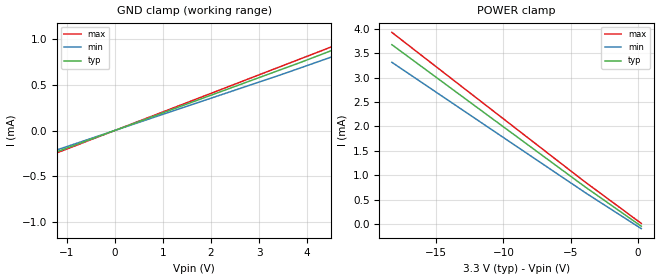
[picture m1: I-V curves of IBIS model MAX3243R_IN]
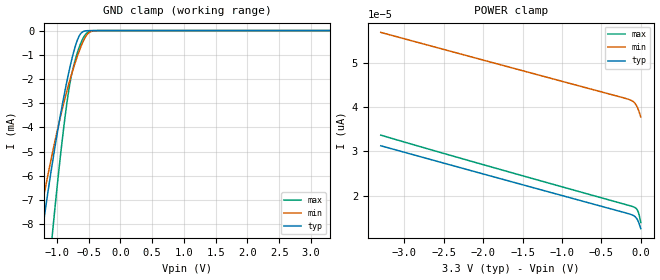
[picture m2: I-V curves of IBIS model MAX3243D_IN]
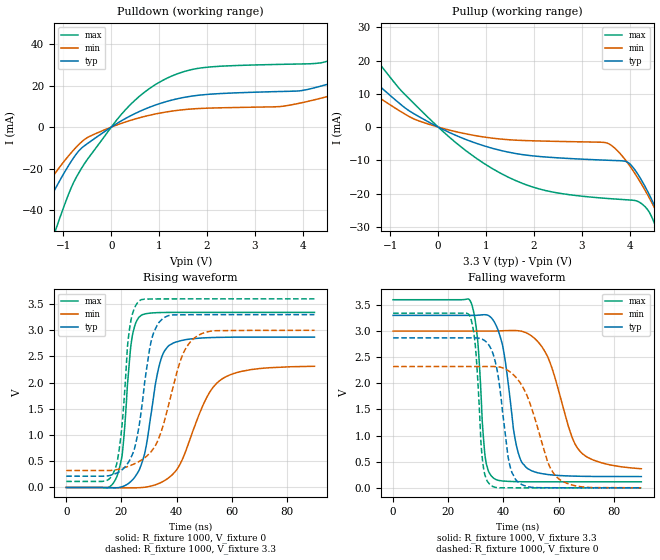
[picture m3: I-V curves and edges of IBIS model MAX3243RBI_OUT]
| TEXAS INSTRUMENTS INCORPORATED
| Standard Linear and Logic Group
| IBIS Model of MAX3243
| 3-V TO 5.5-V MULTICHANNEL RS-232 LINE DRIVER/RECEIVER WITH +-15 kV ESD
| (HBM) PROTECTION
| This file contains package information for the following:
|  SSOP 28-pin (DB) package as [Component] MAX3243C_DB
|  SOIC 28-pin (DW) package as [Component] MAX3243C_DW
|  TSSOP 28-pin (PW) package as [Component] MAX3243C_PW
| This device can be powered at the following Vccs:
|  3.3 volt Vcc
| This file provides unique models under the [Model Selector] for each Vcc.
| For operation at a specific Vcc, select the appropriate model after each
| [Model Selector] keyword.
[IBIS Ver]   3.2
[Comment char]  |_char
[File Name]   max3243.ibs
[File Rev]   1.1 | c_die
[Date]   June 18, 2001
[Source]   Data created from TI-SPICE simulations at TI-SLL.
[Notes]   The following is an IBIS list for the MAX3243C.
   Please contact sllibis@ti.com with questions and
   comments concerning SLL IBIS models.
   -We violated the sweep range for receiver input and
   driver output assuming that there will be no reflection
   issue in practice.
   - This model has data only for 3.3 V VCC
   - Since the receiver of RS-232 has no Vinl and Vinh, we
   omitted those parameters
   - FILE REV HISTORY
   - 1.0   RELEASE IBIS FILE ON 06/18/2001
   - 1.1   ADDED PW PACKAGE ON 01/19/2004
[Disclaimer] Property of Texas Instruments Incorporated.  Unauthorized
                reproduction and/or distribution is strictly prohibited.
                This product is protected under copyright law.
                Created  2001, (C) Copyright  2001, Texas Instruments
                Incorporated, All Rights Reserved
                UNLESS THERE IS A SIGNED, WRITTEN AGREEMENT TO THE
                CONTRARY, TEXAS INSTRUMENTS (TI) IS PROVIDING THE IBIS
                MODELS  AND WITHOUT ANY WARRANTY, EXPRESSED OR
                IMPLIED.  TI assumes no liability for:
                 1) the accuracy of the IBIS models provided to your
                    company;
                 2) the proper functioning of these IBIS Models in your
                    design or for any resulting applications; or
                 3) infringement of patents, copyrights or intellectual
                    property rights resulting from your use of these IBIS
                    models.
                TI provides IBIS Models as a service to our customers.
                You and your company shall not distribute, sell or give
                these models to anyone else without prior written
                permission from TI.
                TI reserves the right to make changes to our products or
                to discontinue any semiconductor product or service
                without notice, and advises our customers to obtain the
                latest version of relevant information to verify, before
                placing orders, that the information being relied on is
                current.
                Please be aware that your receipt and use of the IBIS
                information provided shall serve as acceptance of these
                terms and conditions.  If you do not accept these terms,
                you should return or destroy the IBIS models and any
                other accompanying information immediately.
| Component MAX3243C_DB 28-pin SSOP
[Component]   MAX3243C_DB
[Manufacturer]   Texas Instruments, Inc.
[Package]
|   typ   min   max
R_pkg   3.400e-02   2.800e-02   3.900e-02
L_pkg   3.404e-09   2.704e-09   4.545e-09
C_pkg   4.280e-13   2.990e-13   5.710e-13
[Pin]   signal_name   model_name   R_pin   L_pin   C_pin
1   C2+   NC   3.800e-02   4.545e-09   5.640e-13
2   C2-   NC   3.900e-02   4.133e-09   5.710e-13
3   VMINUS   NC   3.500e-02   3.598e-09   4.890e-13
4   RIN1   MAX3243R_IN   2.800e-02   3.087e-09   4.080e-13
5   RIN2   MAX3243R_IN   3.200e-02   2.990e-09   3.490e-13
6   RIN3   MAX3243R_IN   3.200e-02   2.774e-09   3.180e-13
7   RIN4   MAX3243R_IN   3.100e-02   2.704e-09   2.990e-13
8   RIN5   MAX3243R_IN   3.100e-02   2.704e-09   2.990e-13
9   DOUT1   MAX3243D_OUT   3.200e-02   2.774e-09   3.180e-13
10   DOUT2   MAX3243D_OUT   3.200e-02   2.990e-09   3.490e-13
11   DOUT3   MAX3243D_OUT   2.800e-02   3.087e-09   4.080e-13
12   DIN3   MAX3243D_IN   3.500e-02   3.598e-09   4.890e-13
13   DIN2   MAX3243D_IN   3.900e-02   4.133e-09   5.710e-13
14   DIN1   MAX3243D_IN   3.800e-02   4.545e-09   5.640e-13
15   ROUT5   MAX3243R_OUT   3.800e-02   4.545e-09   5.640e-13
16   ROUT4   MAX3243R_OUT   3.900e-02   4.133e-09   5.710e-13
17   ROUT3   MAX3243R_OUT   3.500e-02   3.597e-09   4.890e-13
18   ROUT2   MAX3243R_OUT   2.800e-02   3.087e-09   4.080e-13
19   ROUT1   MAX3243R_OUT   3.200e-02   2.990e-09   3.490e-13
20   ROUT2B   MAX3243RBI_OUT   3.100e-02   2.774e-09   3.180e-13
21   INVALID   MAX3243RBI_OUT   3.100e-02   2.704e-09   2.990e-13
22   FORCEOFFB  MAX3243F_IN   3.100e-02   2.704e-09   2.990e-13
23   FORCEON   MAX3243F_IN   3.200e-02   2.774e-09   3.180e-13
24   C1-   NC   3.200e-02   2.990e-09   3.490e-13
25   GND   GND   2.800e-02   3.087e-09   4.080e-13
26   VCC   POWER   3.500e-02   3.598e-09   4.890e-13
27   VPLUS   NC   3.900e-02   4.133e-09   5.710e-13
28   C1+   NC   3.800e-02   4.545e-09   5.640e-13
| Component MAX3243C_DW 28-pin SOIC
[Component]   MAX3243C_DW
[Manufacturer]   Texas Instruments, Inc.
[Package]
|   typ   min   max
R_pkg   3.700e-02   3.100e-02   4.600e-02
L_pkg   5.147e-09   3.554e-09   7.390e-09
C_pkg   8.040e-13   3.820e-13   1.314e-12
[Pin]   signal_name   model_name   R_pin   L_pin   C_pin
1   C2+   NC   4.500e-02   7.390e-09   1.122e-12
2   C2-   NC   4.300e-02   6.387e-09   1.048e-12
3   VMINUS   NC   3.800e-02   5.461e-09   8.240e-13
4   RIN1   MAX3243R_IN   3.700e-02   4.759e-09   5.730e-13
5   RIN2   MAX3243R_IN   3.100e-02   4.604e-09   5.090e-13
6   RIN3   MAX3243R_IN   3.200e-02   3.891e-09   4.580e-13
7   RIN4   MAX3243R_IN   3.400e-02   3.554e-09   3.820e-13
8   RIN5   MAX3243R_IN   3.400e-02   3.555e-09   3.820e-13
9   DOUT1   MAX3243D_OUT   3.200e-02   3.891e-09   4.580e-13
10   DOUT2   MAX3243D_OUT   3.100e-02   4.604e-09   5.090e-13
11   DOUT3   MAX3243D_OUT   3.300e-02   4.744e-09   5.730e-13
12   DIN3   MAX3243D_IN   3.600e-02   5.454e-09   8.240e-13
13   DIN2   MAX3243D_IN   4.200e-02   6.382e-09   1.049e-12
14   DIN1   MAX3243D_IN   4.600e-02   7.383e-09   1.074e-12
15   ROUT5   MAX3243R_OUT   4.600e-02   7.383e-09   1.266e-12
16   ROUT4   MAX3243R_OUT   4.200e-02   6.382e-09   1.262e-12
17   ROUT3   MAX3243R_OUT   3.600e-02   5.454e-09   1.037e-12
18   ROUT2   MAX3243R_OUT   3.300e-02   4.744e-09   7.870e-13
19   ROUT1   MAX3243R_OUT   3.100e-02   4.604e-09   7.230e-13
20   ROUT2B   MAX3243RBI_OUT   3.200e-02   3.891e-09   6.710e-13
21   INVALID   MAX3243RBI_OUT   3.400e-02   3.554e-09   5.960e-13
22   FORCEOFFB  MAX3243F_IN   3.400e-02   3.554e-09   5.960e-13
23   FORCEON   MAX3243F_IN   3.200e-02   3.891e-09   6.710e-13
24   C1-   NC   3.100e-02   4.604e-09   7.230e-13
25   GND   GND   3.700e-02   4.759e-09   7.870e-13
26   VCC   POWER   3.800e-02   5.461e-09   1.037e-12
27   VPLUS   NC   4.300e-02   6.387e-09   1.261e-12
28   C1+   NC   4.500e-02   7.390e-09   1.314e-12
| Component MAX3243C_PW 28-pin TSSOP
[Component]   MAX3243C_PW
[Manufacturer]   Texas Instruments, Inc.
[Package]
|   typ   min   max
R_pkg   2.300e-02   1.900e-02   3.000e-02
L_pkg   1.781e-09   1.295e-09   2.916e-09
C_pkg   1.390e-13   7.700e-14   3.160e-13
[Pin]   signal_name   model_name   R_pin   L_pin   C_pin
1   C2+   NC   3.000e-02   2.916e-09   3.160e-13
2   C2-   NC   2.900e-02   2.409e-09   1.910e-13
3   VMINUS   NC   2.500e-02   1.805e-09   1.400e-13
4   RIN1   MAX3243R_IN   2.000e-02   1.336e-09   9.200e-14
5   RIN2   MAX3243R_IN   2.000e-02   1.329e-09   8.000e-14
6   RIN3   MAX3243R_IN   2.100e-02   1.360e-09   7.900e-14
7   RIN4   MAX3243R_IN   2.100e-02   1.359e-09   7.900e-14
8   RIN5   MAX3243R_IN   2.100e-02   1.343e-09   7.800e-14
9   DOUT1   MAX3243D_OUT   2.000e-02   1.327e-09   7.800e-14
10   DOUT2   MAX3243D_OUT   2.100e-02   1.345e-09   8.000e-14
11   DOUT3   MAX3243D_OUT   2.000e-02   1.335e-09   9.200e-14
12   DIN3   MAX3243D_IN   2.500e-02   1.799e-09   1.420e-13
13   DIN2   MAX3243D_IN   2.600e-02   2.338e-09   1.890e-13
14   DIN1   MAX3243D_IN   2.800e-02   2.878e-09   3.140e-13
15   ROUT5   MAX3243R_OUT   3.000e-02   2.910e-09   3.140e-13
16   ROUT4   MAX3243R_OUT   2.900e-02   2.431e-09   1.910e-13
17   ROUT3   MAX3243R_OUT   2.700e-02   1.903e-09   1.450e-13
18   ROUT2   MAX3243R_OUT   1.900e-02   1.319e-09   9.100e-14
19   ROUT1   MAX3243R_OUT   1.900e-02   1.313e-09   7.900e-14
20   ROUT2B   MAX3243RBI_OUT   2.000e-02   1.327e-09   7.800e-14
21   INVALID   MAX3243RBI_OUT   2.000e-02   1.327e-09   7.800e-14
22   FORCEOFFB  MAX3243F_IN   1.900e-02   1.295e-09   7.700e-14
23   FORCEON   MAX3243F_IN   2.000e-02   1.327e-09   7.800e-14
24   C1-   NC   2.000e-02   1.328e-09   8.000e-14
25   GND   GND   2.000e-02   1.335e-09   9.200e-14
26   VCC   POWER   2.700e-02   1.894e-09   1.450e-13
27   VPLUS   NC   2.700e-02   2.397e-09   1.900e-13
28   C1+   NC   2.900e-02   2.892e-09   3.140e-13
| Models and submodels in the file (6): MAX3243R_IN (Input), MAX3243D_IN (Input), MAX3243F_IN (Input), MAX3243RBI_OUT (Output), MAX3243R_OUT (3-state), MAX3243D_OUT (3-state)
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| Model MAX3243R_IN
[Model]   MAX3243R_IN
Model_type  Input
Vinl = 0.8
Vinh = 2.0
| variable   typ   min   max
C_comp   0.00pF   0.00pF   0.00pF
[Model Spec]
| variable   typ   min   max
Vinl+   1.1   NA   NA
Vinl-   0.6   NA   NA
Vinh+   2.4   NA   NA
Vinh-   1.6   NA   NA
[Temperature Range]   40   100   -40
| Ambient temperature   25   85   -40
[Voltage range]   3.3   3   3.6
[GND Clamp]
| MAX3243R_IN_33
|   Voltage   I(typ)   I(min)   I(max)
-15V      -3.025mA   -2.768mA   -3.187mA
-6.4V     -1.281mA   -1.172mA   -1.35mA
-6V       -1.2mA     -1.098mA   -1.264mA
-5.6V     -1.119mA   -1.024mA   -1.179mA
-5.2V     -1.038mA   -949.4uA   -1.093mA
-1.4V     -271.4uA   -248.5uA   -285.7uA
3.4V      657.7uA    602.3uA    692.3uA
5.25V     1.028mA    944.6uA    1.077mA
5.65V     1.109mA    1.019mA    1.163mA
6.45V     1.271mA    1.167mA    1.333mA
25V       5.038mA    4.617mA    5.297mA
[POWER Clamp]
| MAX3243R_IN_33
|   Voltage   I(typ)   I(min)   I(max)
-18.3V    3.676mA    3.315mA    3.929mA
-4.15V    804.9uA    684.9uA    906.9uA
-3.65V    706uA      593.3uA    804.3uA
250mV     -48.36uA   -97.41uA   10.18uA
[Model]   MAX3243D_IN
Model_type  Input
Vinl = 0.8
Vinh = 2.0
| variable   typ   min   max
C_comp   1.19pF   0.88pF   1.37pF
[Temperature Range]   40   100   -40
| Ambient temperature   25   85   -40
[Voltage range]   3.3   3   3.6
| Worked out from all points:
|   GND clamp passes 1 mA (typ) near -0.75 V on its own axis
[GND Clamp]
| MAX3243D_IN_33
|   Voltage   I(typ)   I(min)   I(max)
-3.3V     -67.98mA   -51.63mA   -103.5mA
-1.325V   -10.18mA   -8.567mA   -16.11mA
-1.29V    -9.491mA   -8.054mA   -14.98mA
-1.225V   -8.243mA   -7.13mA    -12.94mA
-1.065V   -5.412mA   -5.018mA   -8.304mA
-915mV    -3.102mA   -3.267mA   -4.558mA
-810mV    -1.722mA   -2.201mA   -2.458mA
-685mV    -463.1uA   -1.135mA   -993.7uA
-580mV    -36.07uA   -422.8uA   -290uA
-510mV    -3.311uA   -125.7uA   -63.81uA
-410mV    -77.71nA   -8.443uA   -1.584uA
3.3V      12.57pA    42.44pA    9.911pA
[POWER Clamp]
| MAX3243D_IN_33
|   Voltage   I(typ)   I(min)   I(max)
-3.3V     31.25pA    56.79pA    33.65pA
-2.045V   25.12pA    50.77pA    27.22pA
-170mV    16.02pA    41.8pA     17.9pA
-125mV    15.77pA    41.5pA     17.67pA
-95mV     15.55pA    41.18pA    17.5pA
-70mV     15.24pA    40.74pA    17.29pA
-50mV     14.82pA    40.17pA    16.96pA
-35mV     14.33pA    39.59pA    16.47pA
-25mV     13.91pA    39.11pA    15.96pA
-15mV     13.41pA    38.58pA    15.26pA
-48.03fV  12.57pA    37.72pA    13.95pA
[Model]   MAX3243RBI_OUT
Model_type  Output
Vref =   0.0
Rref =   3000
Cref =   150p
Vmeas =   1.5
| variable   typ   min   max
C_comp   3.21pF   2.18pF   5.20pF
| C_pullup   2.98pF   2.18pF   4.20pF
| C_pulldown   3.45pF   2.30pF   5.20pF
[Temperature Range]   40   100   -40
| Ambient temperature   25   85   -40
[Voltage range]   3.3   3   3.6
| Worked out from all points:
|   slope of the pulldown table from 0 to 0.495 V, typ, clamps not added: 75.8 ohm
|   slope of the pullup table from 0 to 0.495 V, typ, clamps not added: 152 ohm
|   rising waveform, R_fixture 1000, V_fixture 0: 20-80 % time 5.53ns typ, 11ns min, 3ns max; typ from 0 V to 2.87 V
|   falling waveform, R_fixture 1000, V_fixture 3.3: 20-80 % time 4.77ns typ, 9.17ns min, 2.49ns max; typ from 3.3 V to 0.216 V
|   rising waveform, R_fixture 1000, V_fixture 3.3: 20-80 % time 5.2ns typ, 8.83ns min, 3.22ns max; typ from 0.215 V to 3.3 V
|   falling waveform, R_fixture 1000, V_fixture 0: 20-80 % time 4.22ns typ, 8.55ns min, 2.26ns max; typ from 2.87 V to 0 V
[Pulldown]
| MAX3243RBI_OUT_33
|   Voltage   I(typ)   I(min)   I(max)
-3.3V     -150.1mA   -112.3mA   -224.8mA
-1.89V    -64.84mA   -48.09mA   -104.5mA
-1.565V   -48.09mA   -35.69mA   -78.88mA
-1.155V   -29.14mA   -21.7mA    -49.16mA
-725mV    -12.82mA   -9.525mA   -23.99mA
35mV      528.2uA    314.1uA    1.092mA
590mV     7.551mA    4.499mA    14.9mA
1.245V    12.9mA     7.634mA    24.44mA
2.06V     15.86mA    9.158mA    29mA
4.08V     18.06mA    12.27mA    30.48mA
6.095V    34.37mA    26.26mA    49.15mA
6.6V      39.72mA    30.61mA    56.18mA
[Pullup]
| MAX3243RBI_OUT_33
|   Voltage   I(typ)   I(min)   I(max)
-3.3V     39.89mA    30.01mA    57.27mA
-2.555V   29.8mA     22.1mA     43.59mA
-1.855V   20.49mA    14.94mA    30.66mA
-380mV    2.962mA    1.738mA    5.288mA
640mV     -4.077mA   -2.214mA   -7.763mA
1.62V     -7.962mA   -3.941mA   -16.11mA
3.57V     -9.996mA   -5.086mA   -21.51mA
4.055V    -11.9mA    -12.83mA   -21.99mA
4.31V     -17.65mA   -18.78mA   -23.82mA
4.575V    -25.5mA    -25.96mA   -31.23mA
4.75V     -31.52mA   -31.22mA   -38.81mA
6.6V      -123.9mA   -107mA     -164.6mA
[Ramp]
| MAX3243RBI_OUT_33
| variable   typ   min   max
dV/dt_r   1.73/5.71E-09   1.39/1.12E-08   2.01/3.08E-09
dV/dt_f   1.86/4.99E-09   1.59/9.25E-09   2.10/2.58E-09
R_load = 1000
[Rising Waveform]
| MAX3243RBI_OUT_33
R_fixture =   1000
C_fixture =   0
L_fixture =   0
V_fixture =   0
V_fixture_min = 0
V_fixture_max = 0
|   Time   V(typ)   V(min)   V(max)
0s        34.86nV    129.6nV    -2.176nV
18.31ns   -5.763mV   -5.048mV   201.1mV
20.35ns   15.41mV    -5.94mV    659.6mV
23.75ns   131.3mV    -6.584mV   2.826V
27.18ns   429.6mV    -2.175mV   3.286V
29.04ns   807.3mV    8.856mV    3.318V
33.51ns   2.28V      75.19mV    3.338V
37.36ns   2.714V     194.3mV    3.341V
55.82ns   2.866V     2.046V     3.342V
90ns      2.87V      2.313V     3.342V
[Falling Waveform]
| MAX3243RBI_OUT_33
R_fixture =   1000
C_fixture =   0
L_fixture =   0
V_fixture =   3.3
V_fixture_min = 3
V_fixture_max = 3.6
|   Time   V(typ)   V(min)   V(max)
0s        3.3V       3V         3.6V
27.96ns   3.3V       3V         3.579V
30.71ns   3.303V     3V         2.797V
33.43ns   3.313V     3V         578.1mV
36.5ns    3.191V     3V         182.2mV
44.72ns   803.7mV    3.009V     118.7mV
48.1ns    398.3mV    2.971V     116.4mV
55.95ns   256.2mV    2.519V     115.3mV
67.75ns   221.5mV    699.8mV    115.2mV
90ns      215.6mV    365.4mV    115.2mV
[Rising Waveform]
| MAX3243RBI_OUT_33
R_fixture =   1000
C_fixture =   0
L_fixture =   0
V_fixture =   3.3
V_fixture_min = 3
V_fixture_max = 3.6
|   Time   V(typ)   V(min)   V(max)
0s        215.4mV    323.9mV    115.2mV
17.47ns   257mV      331.8mV    322.6mV
20ns      328.4mV    361.8mV    1.074V
22.99ns   520.4mV    413.5mV    3.043V
26.65ns   1.258V     503.9mV    3.568V
30.78ns   2.787V     684.2mV    3.597V
35.51ns   3.243V     1.253V     3.599V
42.01ns   3.296V     2.507V     3.6V
47.45ns   3.298V     2.89V      3.6V
90ns      3.3V       3V         3.6V
[Falling Waveform]
| MAX3243RBI_OUT_33
R_fixture =   1000
C_fixture =   0
L_fixture =   0
V_fixture =   0
V_fixture_min = 0
V_fixture_max = 0
|   Time   V(typ)   V(min)   V(max)
0s        2.87V      2.321V     3.342V
27.7ns    2.87V      2.321V     3.297V
29.84ns   2.869V     2.321V     2.703V
32.5ns    2.839V     2.321V     482.5mV
35.39ns   2.671V     2.322V     50.07mV
38ns      2.165V     2.316V     675.1uV
41.96ns   513.3mV    2.234V     1.094mV
44.93ns   127mV      2.09V      515.4uV
59.39ns   1.43mV     202.5mV    59.37uV
90ns      24.56uV    1.237mV    3.863uV
